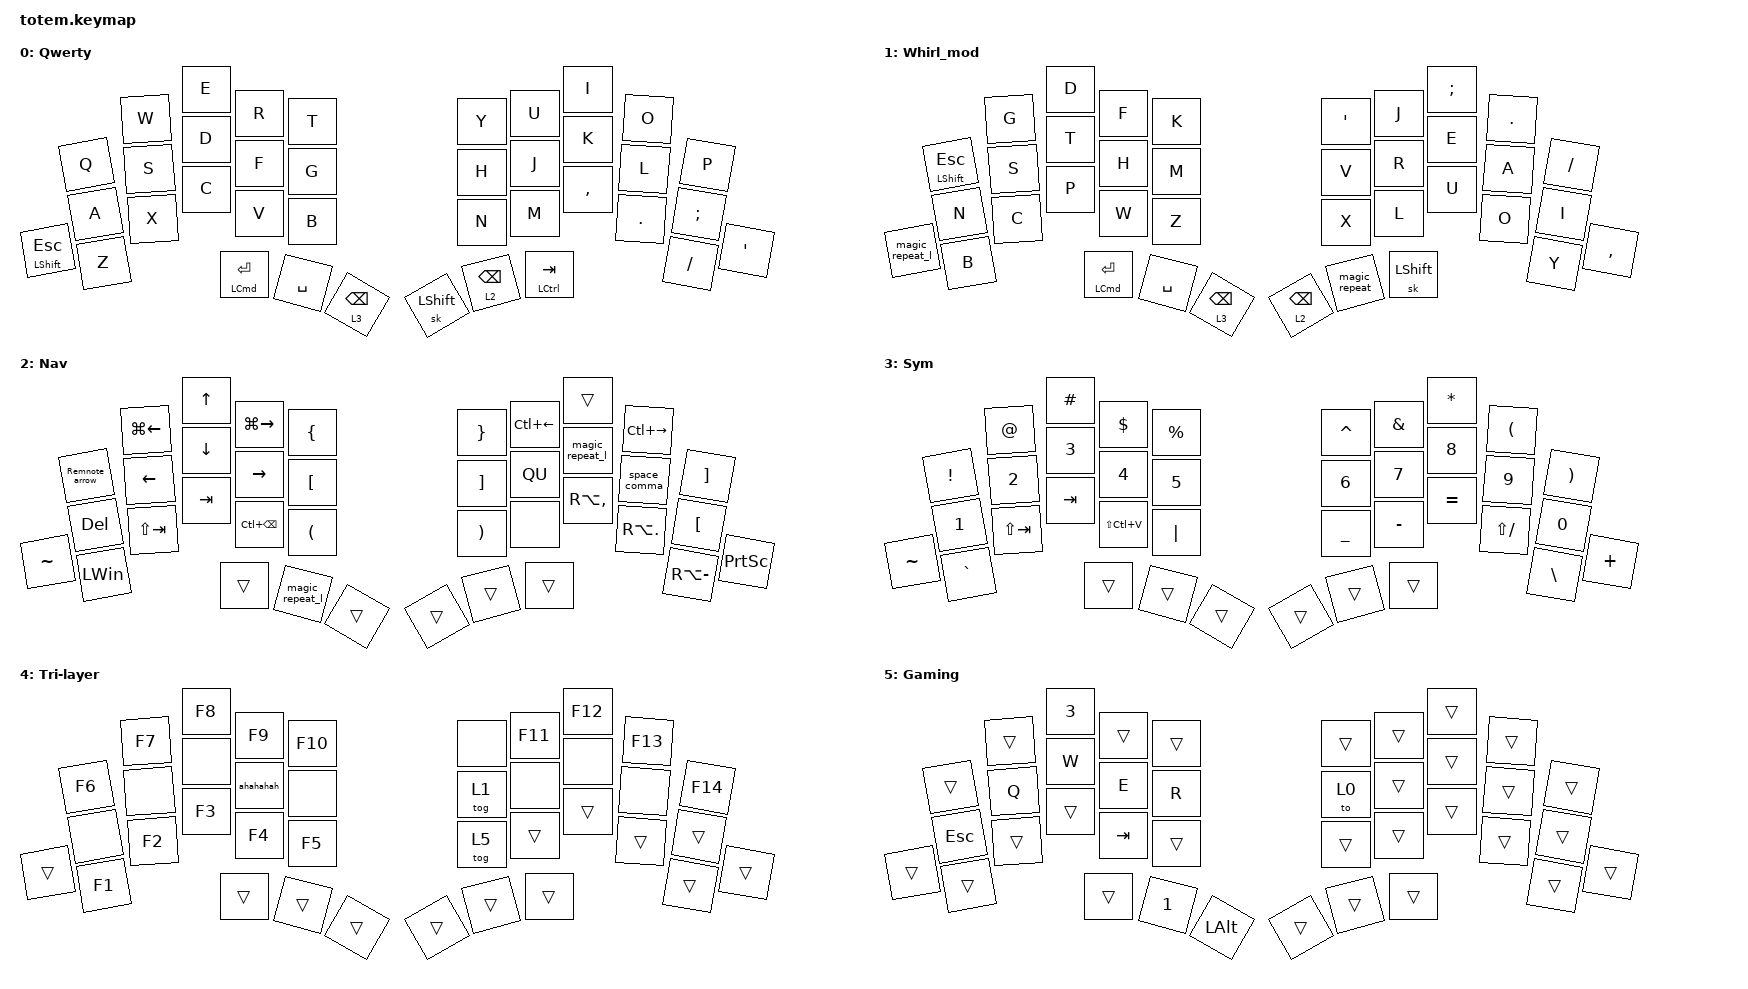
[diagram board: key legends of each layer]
//
//                                                        ▀▀▀▀▀     ▀▀▀▀▀          ▀▀█▀▀
//                                                        ▄▀▀▀▄  ▄  ▄▀▀▀▄  ▄  ▄▀▀▀▄  █  ▄▀▀▀▄
//                                                        █   █  █  █   █  █  █   █  █  █   █
//                                                         ▀▀▀   █   ▀▀▀   █   ▀▀▀   ▀   ▀▀▀
//                                                               █      ▄▄▄█▄▄▄    █   █  
//                                                               ▀      █  █  █     █▄█
//                                                             ▀▀▀▀▀    █  █  █      ▀
//                                                                      ▀  ▀  ▀
//
// ▄▄▄▄▄▄▄▄▄▄▄▄▄▄▄▄▄▄▄▄▄▄▄▄▄▄▄▄▄▄▄▄▄▄▄▄▄▄▄▄▄▄▄▄▄▄▄▄▄▄▄▄▄▄▄▄▄▄▄▄▄▄▄▄▄▄▄▄▄▄▄▄▄▄▄▄▄▄▄▄▄▄▄▄▄▄▄▄▄▄▄▄▄▄▄▄▄▄▄▄▄▄▄▄▄▄▄▄▄▄▄▄▄▄▄▄▄▄▄▄▄▄▄▄▄▄▄▄▄▄▄▄▄▄▄▄▄▄▄▄▄▄▄▄▄▄▄▄▄

#include <behaviors.dtsi>
#include <dt-bindings/zmk/keys.h>

&mt {
    quick-tap-ms = <190>;
    flavor = "hold-preferred";
    tapping-term-ms = <200>;
};

&lt {
    tapping-term-ms = <200>;
    flavor = "hold-preferred";
    quick-tap-ms = <190>;
};

/ {
    behaviors {
        macro_because: macro_because {
            compatible = "zmk,behavior-macro";
            #binding-cells = <0>;
            bindings = <&kp E &kp C &kp A &kp U &kp S &kp E>;
        };

        macro_ng: macro_ng {
            compatible = "zmk,behavior-macro";
            #binding-cells = <0>;
            bindings = <&kp N &kp G>;
        };

        // Define the adaptive repeat key behaviors

        magic_repeat: magic_repeat {
            compatible = "zmk,behavior-antecedent-morph";
            #binding-cells = <0>;

            // Default behavior - repeat the last key

            defaults = <&key_repeat>;
            antecedents = <SQT G U W Y R>;
            bindings = <&kp R &kp S &kp E &kp H &kp COMMA &kp L>;

            // Maximum delay to consider the antecedent

            max-delay-ms = <5000>;
        };

        magic_repeat_l: magic_repeat_l {
            compatible = "zmk,behavior-antecedent-morph";
            #binding-cells = <0>;
            defaults = <&key_repeat>;
            antecedents = <S P O>;
            bindings = <&kp C &kp T &kp A>;
            max-delay-ms = <5000>;
        };
    };

    // Positions are picked on QWERTY. Combos stay off Gaming (5), where they
    // would swallow and delay game keys, and Del stays off Whirl_mod (1),
    // where position 0 is Shift. Del is still on Nav.
    combos {
        compatible = "zmk,combos";

        Del {
            bindings = <&kp DEL>;
            key-positions = <0 1>;
            layers = <0 2 3 4>;
        };

        Lang {
            bindings = <&kp CAPSLOCK>;
            key-positions = <2 13>;
            layers = <0 1 2 3 4>;
        };

        Tri-layer {
            bindings = <&mo 4>;
            key-positions = <33 36>;
            layers = <0 1 2 3 4>;
        };

        Bootloader {
            bindings = <&bootloader>;
            key-positions = <0 2 4>;
            layers = <0 1 2 3 4>;
        };
    };

    macros {
        QU: QU {
            compatible = "zmk,behavior-macro";
            #binding-cells = <0>;
            bindings = <&kp Q &kp U>;
        };

        Remnote_arrow: Remnote_arrow {
            compatible = "zmk,behavior-macro";
            #binding-cells = <0>;
            bindings = <&kp GREATER_THAN &kp GREATER_THAN>;
        };

        ahahahah: ahahahah {
            compatible = "zmk,behavior-macro";
            #binding-cells = <0>;
            bindings = <&kp LBKT &kp F>;
        };

        space_comma: space_comma {
            compatible = "zmk,behavior-macro";
            #binding-cells = <0>;
            bindings = <&kp KP_DOT &kp SPACE>;
        };
    };

    keymap {
        compatible = "zmk,keymap";

        QWERTY {
            display-name = "Qwerty";
            bindings = <
               &kp Q  &kp W  &kp E                   &kp R      &kp T         &kp Y       &kp U       &kp I          &kp O    &kp P
               &kp A  &kp S  &kp D                   &kp F      &kp G         &kp H       &kp J       &kp K          &kp L    &kp SEMICOLON
&mt LSHFT ESC  &kp Z  &kp X  &kp C                   &kp V      &kp B         &kp N       &kp M       &kp COMMA      &kp DOT  &kp SLASH      &kp APOSTROPHE
                             &mt LEFT_COMMAND ENTER  &kp SPACE  &lt 3 BSPC    &sk LSHIFT  &lt 2 BSPC  &mt LCTRL TAB
            >;
        };

        Whirl_mod {
            display-name = "Whirl_mod";
            bindings = <
                 &mt LEFT_SHIFT ESCAPE  &kp G  &kp D                   &kp F      &kp K              &kp SQT          &kp J          &kp SEMICOLON  &kp PERIOD  &kp SLASH
                 &kp N                  &kp S  &kp T                   &kp H      &kp M              &kp V            &kp R          &kp E          &kp A       &kp I
&magic_repeat_l  &kp B                  &kp C  &kp P                   &kp W      &kp Z              &kp X            &kp L          &kp U          &kp O       &kp Y      &kp COMMA
                                               &mt LEFT_COMMAND ENTER  &kp SPACE  &lt 3 BACKSPACE    &lt 2 BACKSPACE  &magic_repeat  &sk LSHIFT
            >;
        };

        Nav {
            display-name = "Nav";
            bindings = <
           &Remnote_arrow  &kp LG(LEFT)  &kp UP_ARROW  &kp LG(RIGHT)      &kp LBRC    &kp RBRC  &kp LC(LEFT)  &trans           &kp LC(RIGHT)   &kp RIGHT_BRACKET
           &kp DEL         &kp LEFT      &kp DOWN      &kp RIGHT          &kp LBKT    &kp RBKT  &QU           &magic_repeat_l  &space_comma    &kp LEFT_BRACKET
&kp TILDE  &kp LEFT_WIN    &kp LS(TAB)   &kp TAB       &kp LC(BACKSPACE)  &kp LPAR    &kp RPAR  &none         &kp RA(COMMA)    &kp RA(PERIOD)  &kp RA(MINUS)      &kp PRINTSCREEN
                                         &trans        &magic_repeat_l    &trans      &trans    &trans        &trans
            >;
        };

        Sym {
            display-name = "Sym";
            bindings = <
           &kp EXCL      &kp AT        &kp HASH      &kp DOLLAR     &kp PERCENT     &kp CARET       &kp AMPERSAND  &kp ASTERISK  &kp LEFT_PARENTHESIS  &kp RIGHT_PARENTHESIS
           &kp NUMBER_1  &kp NUMBER_2  &kp NUMBER_3  &kp NUMBER_4   &kp NUMBER_5    &kp NUMBER_6    &kp NUMBER_7   &kp NUMBER_8  &kp NUMBER_9          &kp NUMBER_0
&kp TILDE  &kp GRAVE     &kp LS(TAB)   &kp TAB       &kp LS(LC(V))  &kp PIPE        &kp UNDERSCORE  &kp MINUS      &kp EQUAL     &kp LS(SLASH)         &kp BACKSLASH          &kp PLUS
                                       &trans        &trans         &trans          &trans          &trans         &trans
            >;
        };

        Tri-layer {
            bindings = <
        &kp F6  &kp F7  &kp F8          &kp F9     &kp F10          &none     &kp F11  &kp F12  &kp F13  &kp F14
        &none   &none   &none           &ahahahah  &none            &tog 1    &none    &none    &none    &trans
&trans  &kp F1  &kp F2  &kp F3          &kp F4     &kp F5           &tog 5    &trans   &trans   &trans   &trans   &trans
                        &trans          &trans     &trans           &trans    &trans   &trans
            >;
        };

        Gaming {
            bindings = <
        &trans   &trans  &kp NUMBER_3  &trans        &trans          &trans  &trans  &trans  &trans  &trans
        &kp ESC  &kp Q   &kp W         &kp E         &kp R           &to 0   &trans  &trans  &trans  &trans
&trans  &trans   &trans  &trans        &kp TAB       &trans          &trans  &trans  &trans  &trans  &trans  &trans
                         &trans        &kp NUMBER_1  &kp LEFT_ALT    &trans  &trans  &trans
            >;
        };
    };
};
